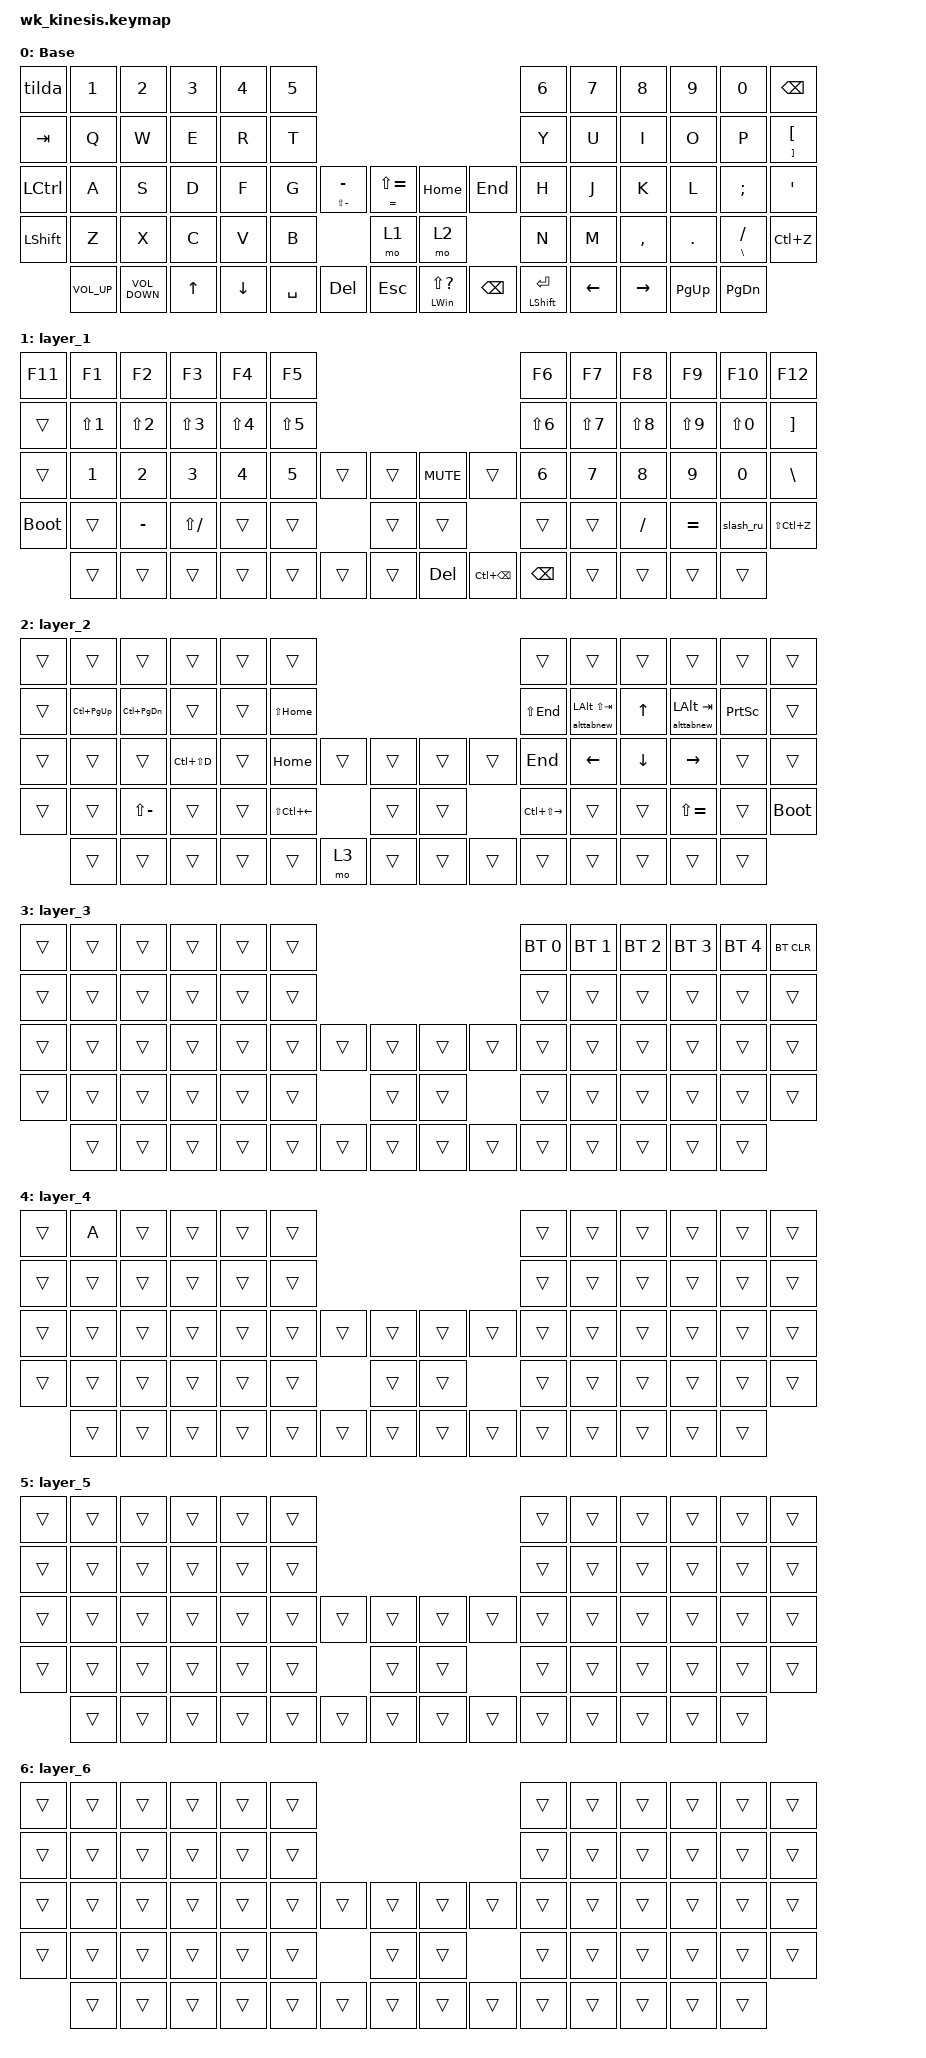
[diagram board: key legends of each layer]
#include <dt-bindings/zmk/mouse.h>
#include <behaviors.dtsi>
#include <dt-bindings/zmk/bt.h>
#include <dt-bindings/zmk/keys.h>

/ {
    behaviors {
        hm: homerow_mods {
            compatible = "zmk,behavior-hold-tap";
            label = "HOMEROW_MODS";
            #binding-cells = <2>;
            tapping-term-ms = <200>;
            quick_tap_ms = <175>;
            flavor = "tap-preferred";
            bindings = <&kp>, <&kp>;
        };

        alt_tab_behavior: alt_tab_behavior {
            compatible = "zmk,behavior-sticky-key";
            label = "ALT_TAB_BEHAVIOR";
            bindings = <&kp>;
            #binding-cells = <1>;
            release-after-ms = <500>;
        };

        win_v_or_win_or_smile: win_v_or_win_or_smile {
            compatible = "zmk,behavior-tap-dance";
            label = "WIN_V_OR_WIN_OR_SMILE";
            #binding-cells = <0>;
            bindings = <&kp LEFT_WIN>, <&kp LG(V)>, <&kp LG(DOT)>;
        };

        sticky_shift_quick: sticky_shift_quick {
            compatible = "zmk,behavior-sticky-key";
            label = "STICKY_SHIFT_QUICK";
            bindings = <&kp>;
            #binding-cells = <1>;
            quick-release;
            release-after-ms = <500>;
        };

        tilda: tilda {
            compatible = "zmk,behavior-tap-dance";
            label = "TILDA";
            #binding-cells = <0>;
            bindings = <&kp TILDE>, <&kp SINGLE_QUOTE>;
        };
    };

    macros {
        alttabnew: alttabnew {
            compatible = "zmk,behavior-macro-two-param";
            #binding-cells = <2>;
            bindings =
                <&macro_press>,
                <&macro_param_1to1 &kp MACRO_PLACEHOLDER>,
                <&macro_tap>,
                <&macro_param_2to1 &kp MACRO_PLACEHOLDER &macro_param_1to1 &alt_tab_behavior MACRO_PLACEHOLDER>,
                <&macro_release>,
                <&macro_param_1to1 &kp MACRO_PLACEHOLDER>;

            label = "ALTTABNEW";
        };

        slash_ru: slash_ru {
            compatible = "zmk,behavior-macro";
            #binding-cells = <0>;
            bindings = <&kp LA(LEFT_SHIFT) &kp SLASH &kp LA(LEFT_SHIFT)>;
            label = "SLASH_RU";
        };
    };

    combos {
        compatible = "zmk,combos";

        change_lang {
            bindings = <&kp LA(LEFT_SHIFT)>;
            key-positions = <49 50>;
        };

        stickyshift {
            bindings = <&sticky_shift_quick LEFT_SHIFT>;
            key-positions = <19 20>;
            timeout-ms = <5000>;
        };
    };

    keymap {
        compatible = "zmk,keymap";

        default_layer {
            display-name = "Base";
            bindings = <
&tilda            &kp N1           &kp N2             &kp N3        &kp N4    &kp N5                                                                                                                           &kp N6  &kp N7    &kp N8     &kp N9       &kp N0               &kp BACKSPACE
&kp TAB           &kp Q            &kp W              &kp E         &kp R     &kp T                                                                                                                            &kp Y   &kp U     &kp I      &kp O        &kp P                &mt RIGHT_BRACKET LEFT_BRACKET
&kp LEFT_CONTROL  &kp A            &kp S              &kp D         &kp F     &kp G              &mt LS(MINUS) MINUS  &mt EQUAL LS(EQUAL)      &kp HOME                   &kp END                              &kp H   &kp J     &kp K      &kp L        &kp SEMI             &kp SQT
&kp LSHFT         &kp Z            &kp X              &kp C         &kp V     &kp B                                   &mo 1                    &mo 2                                                           &kp N   &kp M     &kp COMMA  &kp DOT      &mt BACKSLASH SLASH  &kp LC(Z)
                  &kp C_VOLUME_UP  &kp C_VOLUME_DOWN  &kp UP_ARROW  &kp DOWN          &kp SPACE  &kp DEL              &kp ESCAPE               &mt LEFT_WIN LS(QUESTION)  &kp BACKSPACE  &mt LEFT_SHIFT ENTER          &kp LEFT  &kp RIGHT  &kp PAGE_UP  &kp PAGE_DOWN
            >;
        };

        layer_1 {
            bindings = <
&kp F11      &kp F1            &kp F2            &kp F3            &kp F4            &kp F5                                                                                      &kp F6            &kp F7            &kp F8            &kp F9            &kp F10           &kp F12
&trans       &kp LS(NUMBER_1)  &kp LS(NUMBER_2)  &kp LS(NUMBER_3)  &kp LS(NUMBER_4)  &kp LS(NUMBER_5)                                                                            &kp LS(NUMBER_6)  &kp LS(NUMBER_7)  &kp LS(NUMBER_8)  &kp LS(NUMBER_9)  &kp LS(NUMBER_0)  &kp RIGHT_BRACKET
&trans       &kp NUMBER_1      &kp NUMBER_2      &kp NUMBER_3      &kp NUMBER_4      &kp NUMBER_5              &trans  &trans      &kp K_MUTE  &trans                            &kp NUMBER_6      &kp NUMBER_7      &kp NUMBER_8      &kp NUMBER_9      &kp NUMBER_0      &kp BACKSLASH
&bootloader  &trans            &kp MINUS         &kp LS(SLASH)     &trans            &trans                            &trans      &trans                                        &trans            &trans            &kp SLASH         &kp EQUAL         &slash_ru         &kp LS(LC(Z))
             &trans            &trans            &trans            &trans                              &trans  &trans  &trans      &kp DEL     &kp LC(BACKSPACE)  &kp BACKSPACE                    &trans            &trans            &trans            &trans
            >;
        };

        layer_2 {
            bindings = <
&trans  &trans           &trans             &trans         &trans  &trans                                                                &trans             &trans                       &trans        &trans                   &trans           &trans
&trans  &kp LC(PAGE_UP)  &kp LC(PAGE_DOWN)  &trans         &trans  &kp LS(HOME)                                                          &kp LS(END)        &alttabnew LEFT_ALT LS(TAB)  &kp UP_ARROW  &alttabnew LEFT_ALT TAB  &kp PRINTSCREEN  &trans
&trans  &trans           &trans             &kp LC(LS(D))  &trans  &kp HOME                  &trans  &trans      &trans  &trans          &kp END            &kp LEFT                     &kp DOWN      &kp RIGHT                &trans           &trans
&trans  &trans           &kp LS(MINUS)      &trans         &trans  &kp LS(LC(LEFT))                  &trans      &trans                  &kp LC(LS(RIGHT))  &trans                       &trans        &kp LS(EQUAL)            &trans           &bootloader
        &trans           &trans             &trans         &trans                    &trans  &mo 3   &trans      &trans  &trans  &trans                     &trans                       &trans        &trans                   &trans
            >;
        };

        layer_3 {
            bindings = <
&trans  &trans  &trans  &trans  &trans  &trans                                                      &bt BT_SEL 0  &bt BT_SEL 1  &bt BT_SEL 2  &bt BT_SEL 3  &bt BT_SEL 4  &bt BT_CLR
&trans  &trans  &trans  &trans  &trans  &trans                                                      &trans        &trans        &trans        &trans        &trans        &trans
&trans  &trans  &trans  &trans  &trans  &trans          &trans  &trans      &trans  &trans          &trans        &trans        &trans        &trans        &trans        &trans
&trans  &trans  &trans  &trans  &trans  &trans                  &trans      &trans                  &trans        &trans        &trans        &trans        &trans        &trans
        &trans  &trans  &trans  &trans          &trans  &trans  &trans      &trans  &trans  &trans                &trans        &trans        &trans        &trans
            >;
        };

        layer_4 {
            bindings = <
&trans  &kp A   &trans  &trans  &trans  &trans                                                      &trans  &trans  &trans  &trans  &trans  &trans
&trans  &trans  &trans  &trans  &trans  &trans                                                      &trans  &trans  &trans  &trans  &trans  &trans
&trans  &trans  &trans  &trans  &trans  &trans          &trans  &trans      &trans  &trans          &trans  &trans  &trans  &trans  &trans  &trans
&trans  &trans  &trans  &trans  &trans  &trans                  &trans      &trans                  &trans  &trans  &trans  &trans  &trans  &trans
        &trans  &trans  &trans  &trans          &trans  &trans  &trans      &trans  &trans  &trans          &trans  &trans  &trans  &trans
            >;
        };

        layer_5 {
            bindings = <
&trans  &trans  &trans  &trans  &trans  &trans                                                      &trans  &trans  &trans  &trans  &trans  &trans
&trans  &trans  &trans  &trans  &trans  &trans                                                      &trans  &trans  &trans  &trans  &trans  &trans
&trans  &trans  &trans  &trans  &trans  &trans          &trans  &trans      &trans  &trans          &trans  &trans  &trans  &trans  &trans  &trans
&trans  &trans  &trans  &trans  &trans  &trans                  &trans      &trans                  &trans  &trans  &trans  &trans  &trans  &trans
        &trans  &trans  &trans  &trans          &trans  &trans  &trans      &trans  &trans  &trans          &trans  &trans  &trans  &trans
            >;
        };

        layer_6 {
            bindings = <
&trans  &trans  &trans  &trans  &trans  &trans                                                      &trans  &trans  &trans  &trans  &trans  &trans
&trans  &trans  &trans  &trans  &trans  &trans                                                      &trans  &trans  &trans  &trans  &trans  &trans
&trans  &trans  &trans  &trans  &trans  &trans          &trans  &trans      &trans  &trans          &trans  &trans  &trans  &trans  &trans  &trans
&trans  &trans  &trans  &trans  &trans  &trans                  &trans      &trans                  &trans  &trans  &trans  &trans  &trans  &trans
        &trans  &trans  &trans  &trans          &trans  &trans  &trans      &trans  &trans  &trans          &trans  &trans  &trans  &trans
            >;
        };
    };
};
